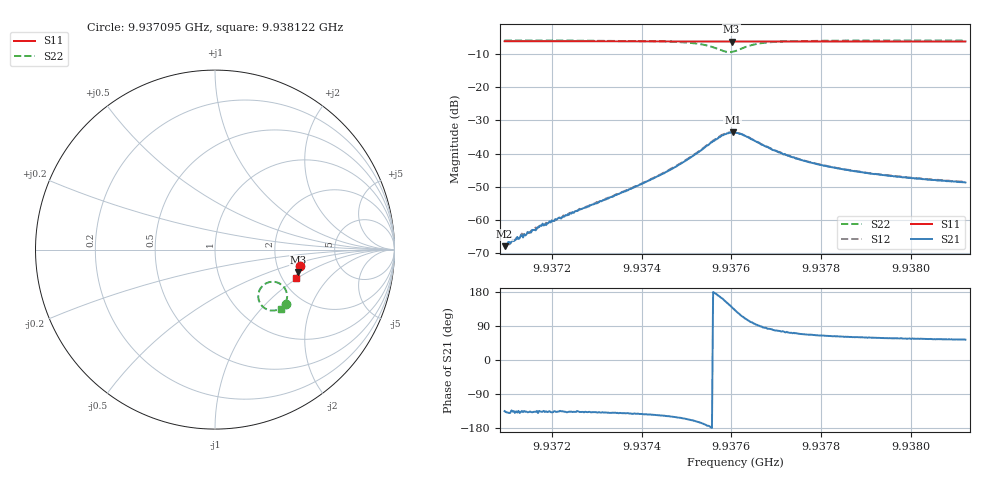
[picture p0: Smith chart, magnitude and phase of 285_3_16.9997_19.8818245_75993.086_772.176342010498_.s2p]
#  HZ  S  RI  R  50.00
! Rohde & Schwarz Vector Network Analyzer
! Rohde-Schwarz,ZNB20-2Port,1311601062101988,3.16
! Created: UTC 3/20/2024, 11:04:52 PM
! freq[Hz]  re:S11  im:S11  re:S21  im:S21  re:S12  im:S12  re:S22  im:S22
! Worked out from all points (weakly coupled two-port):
!   401 points, 9.937095 GHz to 9.938122 GHz, reference 50 ohm
!   highest |S21| = -33.66 dB at 9.937603 GHz (marker M1); lowest = -67.8 dB at 9.937095 GHz (marker M2)
!   lowest |S11| = -6.4 dB at 9.937601 GHz (marker M3), VSWR 2.84, Z = 126 - j41.4 ohm
!   |S11| at or under -10 dB: nowhere
!   |S22| runs from -9.6 to -6.1 dB; largest |S21 - S12| = 0.0009
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9.9370949e9  0.4751 -0.0938  -0.000287 -0.000288  -0.000334 -0.000264  0.3928 -0.3052
9.9371026e9  0.4751 -0.0944  -0.000354 -0.000308  -0.000329 -0.00029  0.3923 -0.3058
9.9371334e9  0.4745 -0.0964  -0.000416 -0.000425  -0.000453 -0.000434  0.39 -0.3079
9.937154e9  0.4741 -0.0978  -0.00048 -0.000443  -0.000526 -0.000455  0.3883 -0.3096
9.9371745e9  0.4737 -0.0991  -0.000594 -0.000584  -0.000575 -0.000559  0.3868 -0.3111
9.9371873e9  0.4734 -0.1  -0.000598 -0.000593  -0.000662 -0.000629  0.3857 -0.3123
9.9372669e9  0.4719 -0.1056  -0.00108 -0.00101  -0.00112 -0.000988  0.378 -0.3186
9.9373645e9  0.4698 -0.1121  -0.0021 -0.00172  -0.00219 -0.00172  0.3642 -0.3281
9.9374389e9  0.4683 -0.1172  -0.00384 -0.0026  -0.00396 -0.00257  0.3453 -0.3362
9.9374902e9  0.4667 -0.1206  -0.00646 -0.00322  -0.00663 -0.00315  0.3214 -0.3397
9.9375416e9  0.465 -0.1241  -0.0123 -0.00213  -0.0125 -0.00191  0.2743 -0.3244
9.9375775e9  0.4635 -0.1257  -0.0176 0.00507  -0.018 0.00558  0.2407 -0.2611
9.9376006e9  0.4629 -0.1261  -0.0158 0.0133  -0.0155 0.0139  0.2687 -0.1983
9.9376032e9  0.463 -0.1263  -0.0152 0.0141  -0.0149 0.0147  0.2753 -0.1936
9.9376083e9  0.463 -0.1264  -0.0135 0.0153  -0.0133 0.016  0.2892 -0.1858
9.9376263e9  0.4633 -0.1272  -0.00765 0.0174  -0.00707 0.0178  0.3389 -0.1809
9.9376622e9  0.4634 -0.1296  -0.000128 0.0145  0.000279 0.0145  0.3908 -0.2191
9.937711e9  0.4627 -0.1332  0.00263 0.00984  0.00288 0.00985  0.402 -0.2608
9.9377803e9  0.4611 -0.1383  0.00287 0.00663  0.00308 0.00664  0.3967 -0.2896
9.9378522e9  0.4595 -0.143  0.00279 0.00504  0.00287 0.00502  0.3896 -0.3051
9.9379523e9  0.457 -0.1497  0.00249 0.00393  0.0026 0.0039  0.3809 -0.3183
9.9381218e9  0.4527 -0.1606  0.00218 0.00295  0.00225 0.00299  0.3687 -0.3329
